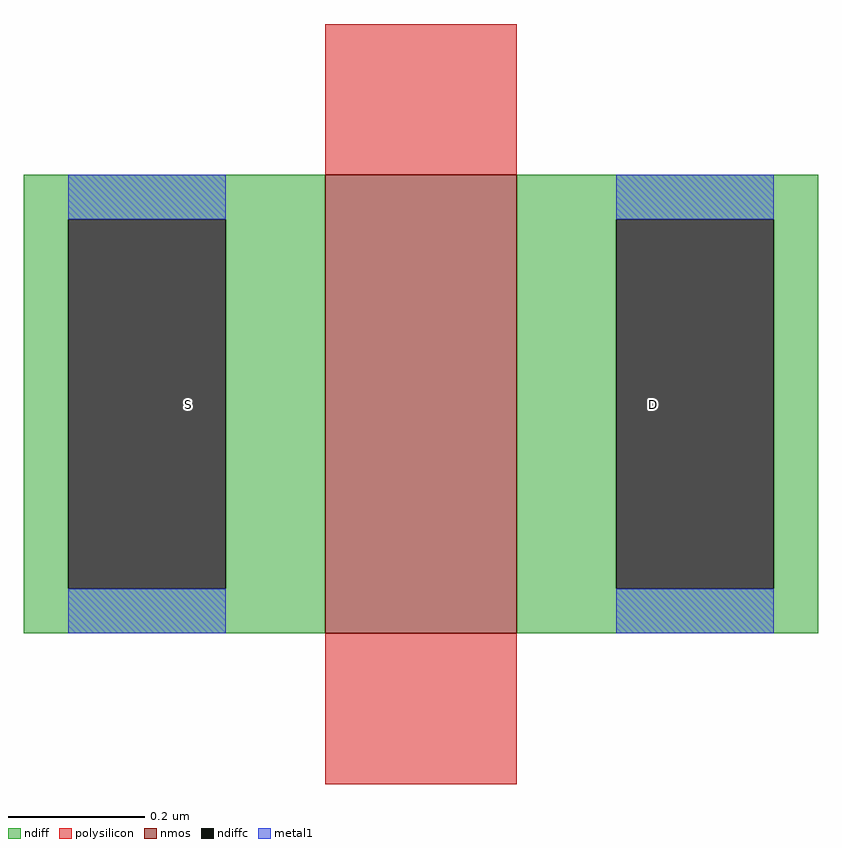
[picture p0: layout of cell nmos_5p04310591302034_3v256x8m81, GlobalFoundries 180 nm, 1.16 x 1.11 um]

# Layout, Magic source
magic
tech gf180mcuD
magscale 1 10
<< nmos >>
rect 0 0 56 134
<< ndiff >>
rect -88 121 0 134
rect -88 13 -75 121
rect -29 13 0 121
rect -88 0 0 13
rect 56 121 144 134
rect 56 13 85 121
rect 131 13 144 121
rect 56 0 144 13
<< ndiffc >>
rect -75 13 -29 121
rect 85 13 131 121
<< polysilicon >>
rect 0 134 56 178
rect 0 -44 56 0
<< metal1 >>
rect -75 121 -29 134
rect -75 0 -29 13
rect 85 121 131 134
rect 85 0 131 13
<< labels >>
flabel ndiffc -40 67 -40 67 0 FreeSans 93 0 0 0 S
flabel ndiffc 96 67 96 67 0 FreeSans 93 0 0 0 D
<< end >>
